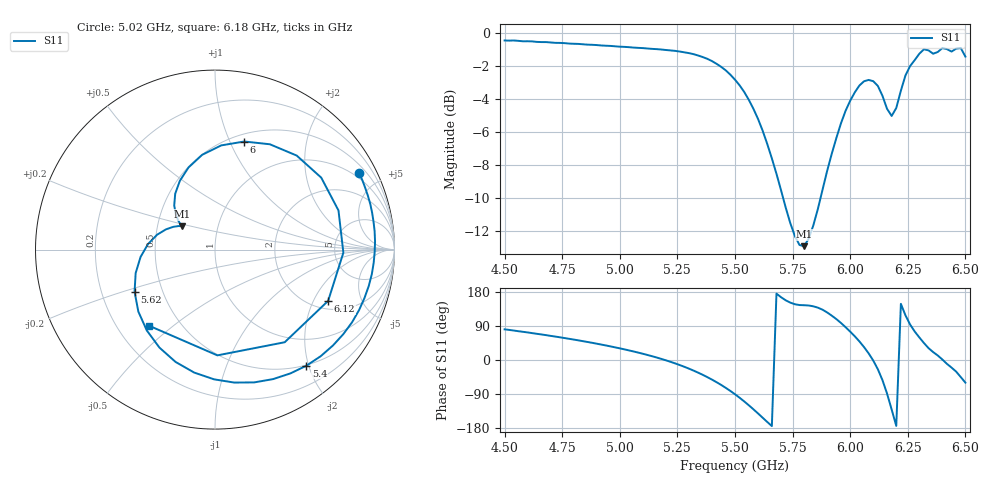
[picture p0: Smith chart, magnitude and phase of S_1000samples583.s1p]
! TOUCHSTONE file generated by CST MICROWAVE STUDIO
! Date and time: Fri Oct 28 16:33:53 2022
! Project name: L.cst
! Parameters = {Di=1.27; Epsilon_r=1.56; InnerDiameter=1.27; Length=2; Lf=10; Lg=60; OuterConductorThickness=0.2921; OuterDiameter=3.6; Wf=3; Wp=41.2; de=1.5; df=6.8; g=0.8; gx=4.41413; gy=1.51474; h=2.34; hf=1.524; px=9.19696; py=13.5032; w=9.7; wx=4.78283; wy=11.9885}
! Header version: 2018
! Port assignment regex: !\s*Touchstone port\s*([0-9]+)\s*=\s*(CST MWS port|CST DS port)\s*([0-9]+|Zmin|Zmax)\s*\(\"(.*)\"\)(\s*mode\s*([0-9]+))?.*
! Touchstone port assignment:
! Touchstone port 1 = CST MWS port 1 ("")
# GHz S DB R 50
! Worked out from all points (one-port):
!   101 points, 4.5 GHz to 6.5 GHz, reference 50 ohm
!   lowest |S11| = -12.9 dB at 5.8 GHz (marker M1), VSWR 1.58, Z = 33.5 + j9.22 ohm
!   |S11| at or under -10 dB: 5.709 GHz to 5.871 GHz (162.7 MHz wide, 2.81 % of centre)
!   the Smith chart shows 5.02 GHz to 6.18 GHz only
!   S11 on the Smith chart (normalised r, x): 5.02 GHz: 0.78, +3.85; 5.4 GHz: 0.49, -1.96; 5.62 GHz: 0.35, -0.22; 6 GHz: 0.57, +1.13; 6.12 GHz: 2.39, -2.62; 6.18 GHz: 0.33, -0.41
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4.5  -0.43 80.9
4.76  -0.60 57.9
5  -0.81 30.8
5.02  -0.82 28.1
5.26  -1.11 -13.3
5.4  -1.69 -51.7
5.5  -2.82 -90.4
5.56  -4.04 -119.5
5.62  -5.92 -152.3
5.68  -8.54 175.2
5.76  -12.33 147.1
5.8  -12.94 144.6
5.92  -7.32 117.0
6  -4.10 74.8
6.06  -2.91 34.1
6.1  -2.91 -1.4
6.12  -3.20 -24.4
6.14  -3.80 -53.0
6.16  -4.59 -88.7
6.18  -5.02 -130.8
6.2  -4.54 -174.0
6.22  -3.48 148.3
6.24  -2.55 117.7
6.26  -1.99 93.7
6.32  -0.97 44.8
6.4  -0.90 1.3
6.46  -0.93 -30.7
6.5  -1.42 -59.8
